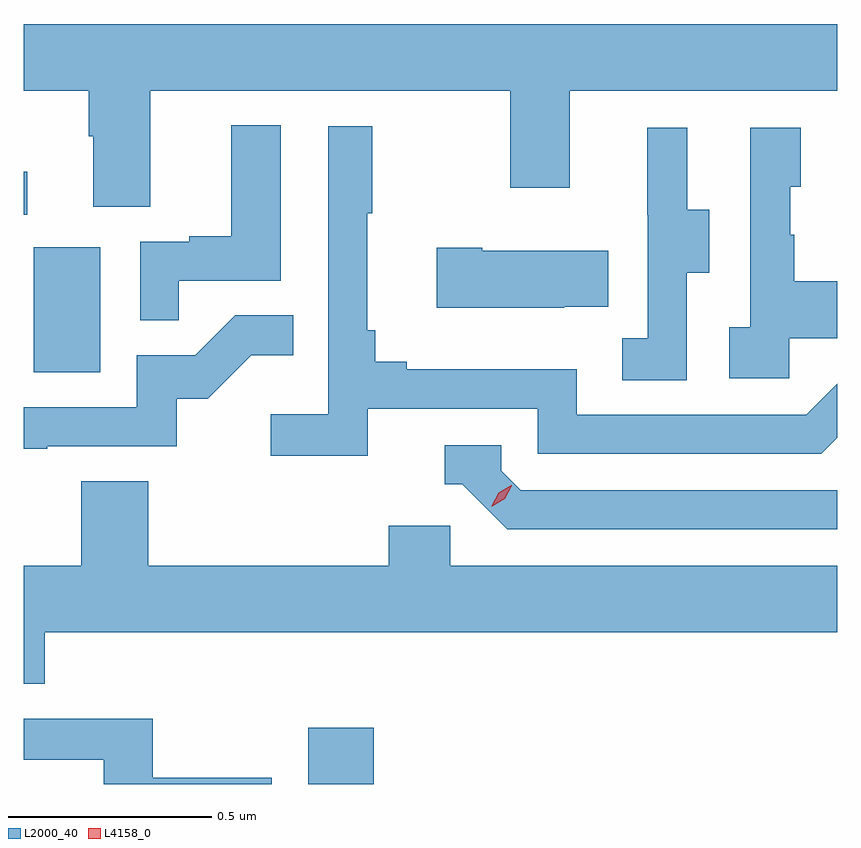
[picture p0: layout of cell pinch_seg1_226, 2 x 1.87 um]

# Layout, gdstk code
import gdstk
lib = gdstk.Library(unit=1e-6, precision=1e-09)
def R(c, l, rs):  # rectangles x0, y0, x1, y1
    for r in rs: c.add(gdstk.rectangle(r[:2], r[2:], *l))
def P(c, l, *ps):  # polygons
    for p in ps: c.add(gdstk.Polygon(p, *l))
L2000_40 = (2000, 40)
L4158_0 = (4158, 0)

pinch_seg1_226 = lib.new_cell('pinch_seg1_226')
R(pinch_seg1_226, L2000_40, [(989.837,564.679,989.998,564.817), (989.162,565.692,989.326,565.999), (989.138,566.079,989.146,566.185)])
P(pinch_seg1_226, L2000_40, [(989.449,566.384),(990.334,566.384),(990.334,566.145),(990.481,566.145),(990.481,566.384),(991.138,566.384),(991.138,566.548),(989.138,566.548),(989.138,566.384),(989.297,566.384),(989.297,566.272),(989.309,566.272),(989.309,566.098),(989.449,566.098)],
  [(989.519,565.917),(989.77,565.917),(989.77,566.299),(989.648,566.299),(989.648,566.026),(989.545,566.026),(989.545,566.013),(989.424,566.013),(989.424,565.819),(989.519,565.819)],
  [(989.984,565.602),(990.402,565.602),(990.402,565.491),(991.099,565.491),(991.138,565.53),(991.138,565.663),(991.062,565.587),(990.498,565.587),(990.498,565.699),(990.079,565.699),(990.079,565.718),(990.002,565.718),(990.002,565.795),(989.983,565.795),(989.983,566.083),(989.995,566.083),(989.995,566.296),(989.886,566.296),(989.886,565.588),(989.745,565.588),(989.745,565.486),(989.984,565.486)],
  [(990.768,565.936),(990.823,565.936),(990.823,566.091),(990.769,566.091),(990.769,566.293),(990.671,566.293),(990.671,566.079),(990.672,566.079),(990.672,565.775),(990.609,565.775),(990.609,565.672),(990.768,565.672)],
  [(991.02,565.775),(991.138,565.775),(991.138,565.915),(991.033,565.915),(991.033,566.03),(991.023,566.03),(991.023,566.148),(991.048,566.148),(991.048,566.293),(990.924,566.293),(990.924,565.802),(990.873,565.802),(990.873,565.677),(991.02,565.677)],
  [(990.467,565.853),(990.575,565.853),(990.575,565.99),(990.265,565.99),(990.265,565.998),(990.153,565.998),(990.153,565.85),(990.467,565.85)],
  [(989.195,565.509),(989.514,565.509),(989.514,565.626),(989.59,565.626),(989.697,565.733),(989.801,565.733),(989.801,565.832),(989.658,565.832),(989.56,565.734),(989.415,565.734),(989.415,565.605),(989.138,565.605),(989.138,565.504),(989.195,565.504)],
  [(991.138,565.401),(990.36,565.401),(990.312,565.449),(990.312,565.512),(990.173,565.512),(990.173,565.416),(990.216,565.416),(990.327,565.305),(991.138,565.305)],
  [(989.189,565.052),(991.138,565.052),(991.138,565.216),(990.186,565.216),(990.186,565.314),(990.035,565.314),(990.035,565.216),(989.444,565.216),(989.444,565.424),(989.279,565.424),(989.279,565.216),(989.138,565.216),(989.138,564.925),(989.189,564.925)],
  [(989.748,564.694),(989.455,564.694),(989.455,564.84),(989.138,564.84),(989.138,564.739),(989.334,564.739),(989.334,564.679),(989.748,564.679)])
P(pinch_seg1_226, L4158_0, [(990.289,565.362),(990.289,565.363),(990.306,565.395),(990.337,565.414),(990.338,565.414),(990.338,565.413),(990.321,565.381),(990.29,565.362)])

lib.write_gds('pinch_seg1_226.gds')
